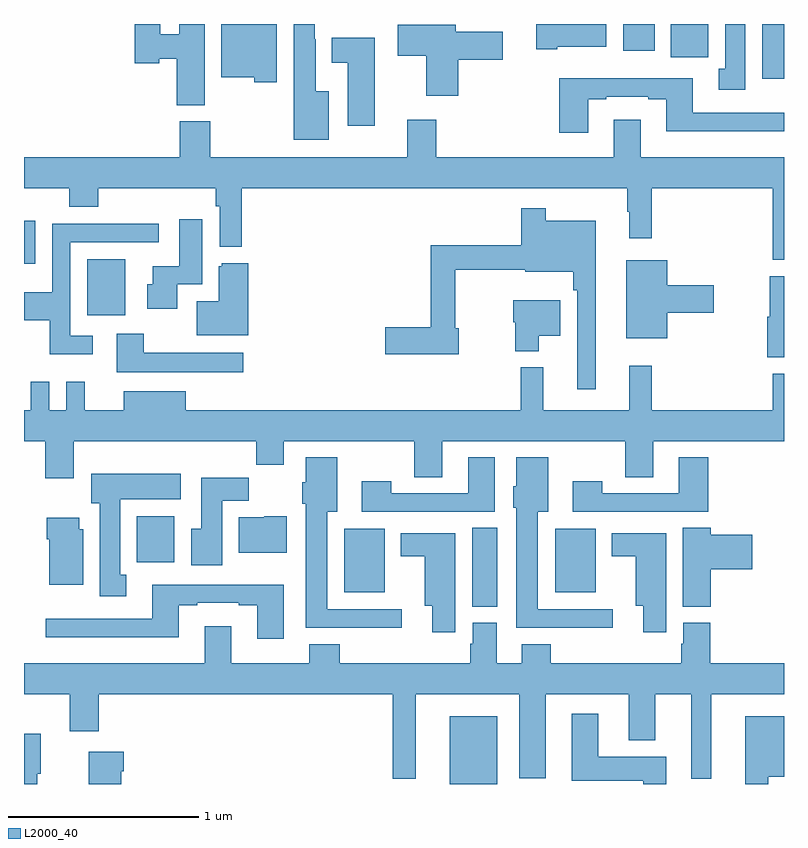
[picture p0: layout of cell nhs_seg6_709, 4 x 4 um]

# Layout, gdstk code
import gdstk
lib = gdstk.Library(unit=1e-6, precision=1e-09)
def R(c, l, rs):  # rectangles x0, y0, x1, y1
    for r in rs: c.add(gdstk.rectangle(r[:2], r[2:], *l))
def P(c, l, *ps):  # polygons
    for p in ps: c.add(gdstk.Polygon(p, *l))
L2000_40 = (2000, 40)

nhs_seg6_709 = lib.new_cell('nhs_seg6_709')
R(nhs_seg6_709, L2000_40, [(157.241,977.5,157.492,977.857), (157.358,978.433,157.492,978.848), (156.686,978.509,156.898,978.844), (157.796,978.509,158.008,978.844), (155.594,978.668,155.791,978.91), (155.333,979.967,155.533,980.263), (155,980.237,155.059,980.464), (158.885,981.212,159,981.5), (158.405,981.324,158.601,981.5), (158.153,981.36,158.32,981.5)])
P(nhs_seg6_709, L2000_40, [(156.331,981.5),(156.038,981.5),(156.038,981.221),(156.213,981.221),(156.213,981.194),(156.331,981.194)],
  [(157.807,981.38),(158.065,981.38),(158.065,981.5),(157.695,981.5),(157.695,981.368),(157.807,981.368)],
  [(158.797,981.5),(158.69,981.5),(158.69,981.265),(158.657,981.265),(158.657,981.153),(158.797,981.153)],
  [(156.604,981.145),(156.535,981.145),(156.535,981.419),(156.531,981.419),(156.531,981.5),(156.419,981.5),(156.419,980.891),(156.604,980.891)],
  [(155.95,981.5),(155.816,981.5),(155.816,981.445),(155.716,981.445),(155.716,981.5),(155.582,981.5),(155.582,981.293),(155.712,981.293),(155.712,981.316),(155.804,981.316),(155.804,981.073),(155.95,981.073)],
  [(157.286,981.311),(157.519,981.311),(157.519,981.458),(157.273,981.458),(157.273,981.496),(156.966,981.496),(156.966,981.334),(157.118,981.334),(157.118,981.123),(157.286,981.123)],
  [(156.847,981.427),(156.62,981.427),(156.62,981.296),(156.704,981.296),(156.704,980.964),(156.847,980.964)],
  [(157.969,981.105),(158.065,981.105),(158.065,981.117),(158.285,981.117),(158.285,981.105),(158.381,981.105),(158.381,980.936),(159,980.936),(159,981.033),(158.521,981.033),(158.521,981.214),(157.817,981.214),(157.817,980.928),(157.969,980.928)],
  [(159,980.8),(158.245,980.8),(158.245,980.995),(158.105,980.995),(158.105,980.8),(157.169,980.8),(157.169,980.995),(157.016,980.995),(157.016,980.8),(155.979,980.8),(155.979,980.988),(155.819,980.988),(155.819,980.8),(155,980.8),(155,980.636),(155.237,980.636),(155.237,980.537),(155.39,980.537),(155.39,980.636),(156.01,980.636),(156.01,980.54),(156.03,980.54),(156.03,980.328),(156.146,980.328),(156.146,980.636),(158.175,980.636),(158.175,980.513),(158.186,980.513),(158.186,980.373),(158.303,980.373),(158.303,980.636),(158.942,980.636),(158.942,980.258),(159,980.258)],
  [(158.008,980.464),(157.747,980.464),(157.747,980.53),(157.618,980.53),(157.618,980.335),(157.141,980.335),(157.141,979.904),(156.9,979.904),(156.9,979.762),(157.288,979.762),(157.288,979.899),(157.27,979.899),(157.27,980.206),(157.637,980.206),(157.637,980.195),(157.891,980.195),(157.891,980.099),(157.911,980.099),(157.911,979.578),(158.008,979.578)],
  [(155.806,980.13),(155.938,980.13),(155.938,980.473),(155.816,980.473),(155.816,980.226),(155.678,980.226),(155.678,980.131),(155.648,980.131),(155.648,980.001),(155.806,980.001)],
  [(155.362,979.86),(155.244,979.86),(155.244,980.352),(155.71,980.352),(155.71,980.45),(155.473,980.45),(155.473,980.448),(155.148,980.448),(155.148,980.089),(155,980.089),(155,979.942),(155.136,979.942),(155.136,979.763),(155.362,979.763)],
  [(158.386,979.979),(158.629,979.979),(158.629,980.126),(158.386,980.126),(158.386,980.257),(158.171,980.257),(158.171,979.847),(158.386,979.847)],
  [(156.179,980.242),(156.042,980.242),(156.042,980.226),(156.026,980.226),(156.026,980.041),(155.909,980.041),(155.909,979.862),(156.179,979.862)],
  [(159,980.173),(158.924,980.173),(158.924,979.959),(158.912,979.959),(158.912,979.745),(159,979.745)],
  [(157.708,979.859),(157.822,979.859),(157.822,980.047),(157.574,980.047),(157.574,979.929),(157.586,979.929),(157.586,979.778),(157.708,979.778)],
  [(156.154,979.771),(155.629,979.771),(155.629,979.87),(155.489,979.87),(155.489,979.667),(156.154,979.667)],
  [(155.263,979.304),(156.223,979.304),(156.223,979.18),(156.367,979.18),(156.367,979.304),(157.054,979.304),(157.054,979.114),(157.201,979.114),(157.201,979.304),(158.164,979.304),(158.164,979.114),(158.311,979.114),(158.311,979.304),(159,979.304),(159,979.66),(158.942,979.66),(158.942,979.468),(158.303,979.468),(158.303,979.702),(158.186,979.702),(158.186,979.468),(157.733,979.468),(157.733,979.693),(157.615,979.693),(157.615,979.468),(155.851,979.468),(155.851,979.567),(155.525,979.567),(155.525,979.468),(155.321,979.468),(155.321,979.618),(155.223,979.618),(155.223,979.468),(155.133,979.468),(155.133,979.618),(155.036,979.618),(155.036,979.468),(155,979.468),(155,979.304),(155.111,979.304),(155.111,979.11),(155.263,979.11)],
  [(158.098,978.42),(157.705,978.42),(157.705,978.932),(157.759,978.932),(157.759,979.219),(157.592,979.219),(157.592,979.068),(157.574,979.068),(157.574,978.954),(157.592,978.954),(157.592,978.323),(158.098,978.323)],
  [(156.988,978.42),(156.595,978.42),(156.595,978.932),(156.649,978.932),(156.649,979.219),(156.482,979.219),(156.482,979.089),(156.464,979.089),(156.464,978.975),(156.482,978.975),(156.482,978.323),(156.988,978.323)],
  [(158.6,979.219),(158.447,979.219),(158.447,979.029),(158.043,979.029),(158.043,979.093),(157.887,979.093),(157.887,978.933),(158.6,978.933)],
  [(157.477,979.219),(157.337,979.219),(157.337,979.029),(156.933,979.029),(156.933,979.093),(156.777,979.093),(156.777,978.933),(157.477,978.933)],
  [(155.539,978.602),(155.506,978.602),(155.506,978.998),(155.824,978.998),(155.824,979.132),(155.354,979.132),(155.354,978.978),(155.399,978.978),(155.399,978.489),(155.539,978.489)],
  [(156.043,978.992),(156.182,978.992),(156.182,979.111),(155.933,979.111),(155.933,978.844),(155.879,978.844),(155.879,978.651),(156.043,978.651)],
  [(156.382,978.91),(156.264,978.91),(156.264,978.904),(156.131,978.904),(156.131,978.716),(156.382,978.716)],
  [(155.311,978.84),(155.29,978.84),(155.29,978.901),(155.12,978.901),(155.12,978.788),(155.132,978.788),(155.132,978.548),(155.311,978.548)],
  [(158.615,978.629),(158.833,978.629),(158.833,978.812),(158.615,978.812),(158.615,978.848),(158.468,978.848),(158.468,978.433),(158.615,978.433)],
  [(158.38,978.82),(158.093,978.82),(158.093,978.698),(158.219,978.698),(158.219,978.437),(158.258,978.437),(158.258,978.3),(158.38,978.3)],
  [(157.27,978.82),(156.983,978.82),(156.983,978.698),(157.109,978.698),(157.109,978.437),(157.148,978.437),(157.148,978.3),(157.27,978.3)],
  [(156.367,978.55),(156.135,978.55),(156.135,978.549),(155.675,978.549),(155.675,978.369),(155.115,978.369),(155.115,978.272),(155.815,978.272),(155.815,978.441),(155.911,978.441),(155.911,978.453),(156.131,978.453),(156.131,978.441),(156.227,978.441),(156.227,978.264),(156.367,978.264)],
  [(157.063,977.972),(157.607,977.972),(157.607,977.531),(157.747,977.531),(157.747,977.972),(158.183,977.972),(158.183,977.729),(158.323,977.729),(158.323,977.972),(158.513,977.972),(158.513,977.528),(158.617,977.528),(158.617,977.972),(159,977.972),(159,978.136),(158.612,978.136),(158.612,978.348),(158.471,978.348),(158.471,978.237),(158.459,978.237),(158.459,978.136),(157.772,978.136),(157.772,978.235),(157.619,978.235),(157.619,978.136),(157.489,978.136),(157.489,978.348),(157.361,978.348),(157.361,978.237),(157.349,978.237),(157.349,978.136),(156.662,978.136),(156.662,978.235),(156.502,978.235),(156.502,978.136),(156.091,978.136),(156.091,978.331),(155.951,978.331),(155.951,978.136),(155,978.136),(155,977.972),(155.24,977.972),(155.24,977.778),(155.393,977.778),(155.393,977.972),(156.942,977.972),(156.942,977.528),(157.063,977.528)],
  [(158.38,977.644),(158.023,977.644),(158.023,977.869),(157.883,977.869),(157.883,977.516),(158.258,977.516),(158.258,977.5),(158.38,977.5)],
  [(158.917,977.537),(159,977.537),(159,977.857),(158.795,977.857),(158.795,977.5),(158.917,977.5)],
  [(155.071,977.553),(155.089,977.553),(155.089,977.764),(155,977.764),(155,977.5),(155.071,977.5)],
  [(155.512,977.567),(155.525,977.567),(155.525,977.671),(155.342,977.671),(155.342,977.5),(155.512,977.5)])

lib.write_gds('nhs_seg6_709.gds')
